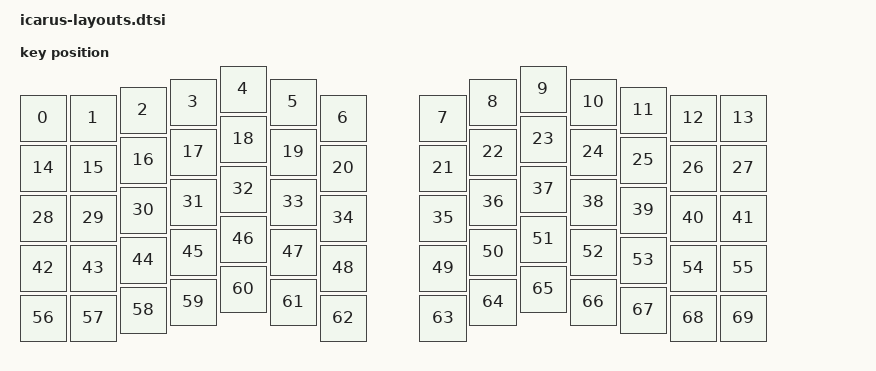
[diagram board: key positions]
// See https://zmk.dev/docs/development/hardware-integration/physical-layouts
// for how to configure this.

#include <physical_layouts.dtsi>

/ {
    / {
        chosen {
            zmk,physical-layout = &layout;
            zmk,kscan = <&kscan>;
        };
        layout: layout {
            compatible = "zmk,physical-layout";
            display-name = "Default Layout";
            transform = <&default_transform>;

            keys  //                     w   h    x    y     rot    rx    ry
                = <&key_physical_attrs 100 100    0   58       0     0     0>
                , <&key_physical_attrs 100 100  100   58       0     0     0>
                , <&key_physical_attrs 100 100  200   42       0     0     0>
                , <&key_physical_attrs 100 100  300   26       0     0     0>
                , <&key_physical_attrs 100 100  400    0       0     0     0>
                , <&key_physical_attrs 100 100  500   26       0     0     0>
                , <&key_physical_attrs 100 100  600   58       0     0     0>
                , <&key_physical_attrs 100 100  800   58       0     0     0>
                , <&key_physical_attrs 100 100  900   26       0     0     0>
                , <&key_physical_attrs 100 100 1000    0       0     0     0>
                , <&key_physical_attrs 100 100 1100   26       0     0     0>
                , <&key_physical_attrs 100 100 1200   42       0     0     0>
                , <&key_physical_attrs 100 100 1300   58       0     0     0>
                , <&key_physical_attrs 100 100 1400   58       0     0     0>
                , <&key_physical_attrs 100 100    0  158       0     0     0>
                , <&key_physical_attrs 100 100  100  158       0     0     0>
                , <&key_physical_attrs 100 100  200  142       0     0     0>
                , <&key_physical_attrs 100 100  300  126       0     0     0>
                , <&key_physical_attrs 100 100  400  100       0     0     0>
                , <&key_physical_attrs 100 100  500  126       0     0     0>
                , <&key_physical_attrs 100 100  600  158       0     0     0>
                , <&key_physical_attrs 100 100  800  158       0     0     0>
                , <&key_physical_attrs 100 100  900  126       0     0     0>
                , <&key_physical_attrs 100 100 1000  100       0     0     0>
                , <&key_physical_attrs 100 100 1100  126       0     0     0>
                , <&key_physical_attrs 100 100 1200  142       0     0     0>
                , <&key_physical_attrs 100 100 1300  158       0     0     0>
                , <&key_physical_attrs 100 100 1400  158       0     0     0>
                , <&key_physical_attrs 100 100    0  258       0     0     0>
                , <&key_physical_attrs 100 100  100  258       0     0     0>
                , <&key_physical_attrs 100 100  200  242       0     0     0>
                , <&key_physical_attrs 100 100  300  226       0     0     0>
                , <&key_physical_attrs 100 100  400  200       0     0     0>
                , <&key_physical_attrs 100 100  500  226       0     0     0>
                , <&key_physical_attrs 100 100  600  258       0     0     0>
                , <&key_physical_attrs 100 100  800  258       0     0     0>
                , <&key_physical_attrs 100 100  900  226       0     0     0>
                , <&key_physical_attrs 100 100 1000  200       0     0     0>
                , <&key_physical_attrs 100 100 1100  226       0     0     0>
                , <&key_physical_attrs 100 100 1200  242       0     0     0>
                , <&key_physical_attrs 100 100 1300  258       0     0     0>
                , <&key_physical_attrs 100 100 1400  258       0     0     0>
                , <&key_physical_attrs 100 100    0  358       0     0     0>
                , <&key_physical_attrs 100 100  100  358       0     0     0>
                , <&key_physical_attrs 100 100  200  342       0     0     0>
                , <&key_physical_attrs 100 100  300  326       0     0     0>
                , <&key_physical_attrs 100 100  400  300       0     0     0>
                , <&key_physical_attrs 100 100  500  326       0     0     0>
                , <&key_physical_attrs 100 100  600  358       0     0     0>
                , <&key_physical_attrs 100 100  800  358       0     0     0>
                , <&key_physical_attrs 100 100  900  326       0     0     0>
                , <&key_physical_attrs 100 100 1000  300       0     0     0>
                , <&key_physical_attrs 100 100 1100  326       0     0     0>
                , <&key_physical_attrs 100 100 1200  342       0     0     0>
                , <&key_physical_attrs 100 100 1300  358       0     0     0>
                , <&key_physical_attrs 100 100 1400  358       0     0     0>
                , <&key_physical_attrs 100 100    0  458       0     0     0>
                , <&key_physical_attrs 100 100  100  458       0     0     0>
                , <&key_physical_attrs 100 100  200  442       0     0     0>
                , <&key_physical_attrs 100 100  300  426       0     0     0>
                , <&key_physical_attrs 100 100  400  400       0     0     0>
                , <&key_physical_attrs 100 100  500  426       0     0     0>
                , <&key_physical_attrs 100 100  600  458       0     0     0>
                , <&key_physical_attrs 100 100  800  458       0     0     0>
                , <&key_physical_attrs 100 100  900  426       0     0     0>
                , <&key_physical_attrs 100 100 1000  400       0     0     0>
                , <&key_physical_attrs 100 100 1100  426       0     0     0>
                , <&key_physical_attrs 100 100 1200  442       0     0     0>
                , <&key_physical_attrs 100 100 1300  458       0     0     0>
                , <&key_physical_attrs 100 100 1400  458       0     0     0>
                ;
        };

        position_map {
            compatible = "zmk,physical-layout-position-map";

            complete;

            layout {
                physical-layout = <&layout>;
                positions = <>;
            };
        };
    };
};
